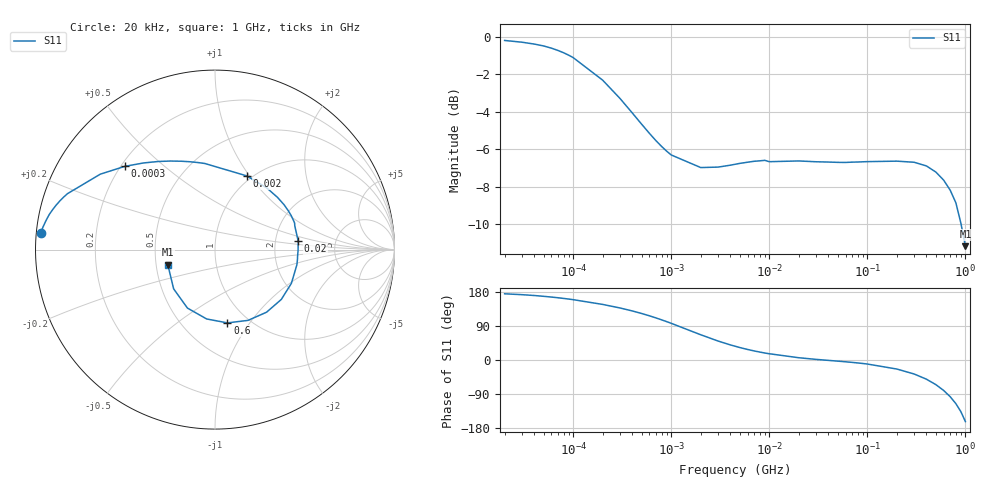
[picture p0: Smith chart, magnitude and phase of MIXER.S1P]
#  HZ  S  RI  R  50
! freq  reS11  imS11
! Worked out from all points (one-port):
!   45 points, 20 kHz to 1 GHz, reference 50 ohm
!   lowest |S11| = -11.2 dB at 1 GHz (marker M1), VSWR 1.76, Z = 28.8 - j5.19 ohm
!   |S11| at or under -10 dB: 903.2 MHz to end of sweep
!   S11 on the Smith chart (normalised r, x): 20 kHz: 0.01, +0.05; 300 kHz: 0.22, +0.37; 2 MHz: 0.95, +0.97; 20 MHz: 2.70, +0.33; 600 MHz: 0.80, -0.79; 1 GHz: 0.58, -0.10
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20000  -0.9721 0.09
40000  -0.9411 0.1624
60000  -0.904 0.2234
80000  -0.8632 0.2724
100000  -0.8217 0.3117
200000  -0.6393 0.4202
300000  -0.503 0.4636
500000  -0.3153 0.491
800000  -0.1395 0.4895
1000000  -0.0573 0.4799
2000000  0.1776 0.4105
3000000  0.2875 0.3443
4000000  0.3481 0.2912
5000000  0.3852 0.2495
7000000  0.4248 0.1889
9000000  0.4435 0.1483
2e7  0.4633 0.0485
7e7  0.4597 -0.0508
1e8  0.456 -0.0855
2e8  0.4256 -0.1881
3e8  0.3695 -0.2776
4e8  0.2871 -0.3489
5e8  0.1838 -0.3944
6e8  0.0692 -0.4083
7e8  -0.0465 -0.3865
8e8  -0.1536 -0.3258
9e8  -0.2305 -0.2186
1e9  -0.2632 -0.0831
